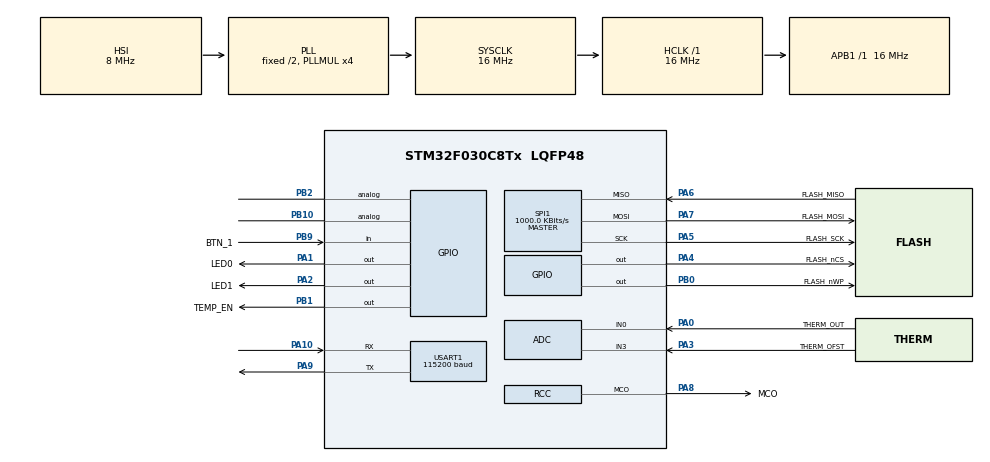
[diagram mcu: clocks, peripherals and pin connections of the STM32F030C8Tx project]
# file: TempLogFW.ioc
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ADC.ClockPrescaler=ADC_CLOCK_ASYNC_DIV1
ADC.ContinuousConvMode=ENABLE
ADC.DiscontinuousConvMode=DISABLE
ADC.EOCSelection=ADC_EOC_SINGLE_CONV
ADC.SamplingTime=ADC_SAMPLETIME_71CYCLES_5
Mcu.Family=STM32F0
Mcu.Name=STM32F030C8Tx
Mcu.Package=LQFP48
NVIC.USART1_IRQn=true\:0\:0\:false\:false\:true\:true\:true\:true
PA0.GPIO_Label=THERM_OUT
PA0.Mode=IN0
PA0.Signal=ADC_IN0
PA1.GPIO_Label=LED0
PA1.Signal=GPIO_Output
PA10.Mode=Asynchronous
PA10.Signal=USART1_RX
PA13.Mode=Serial_Wire
PA13.Signal=SYS_SWDIO
PA14.Mode=Serial_Wire
PA14.Signal=SYS_SWCLK
PA2.GPIO_Label=LED1
PA2.Signal=GPIO_Output
PA3.GPIO_Label=THERM_OFST
PA3.Mode=IN3
PA3.Signal=ADC_IN3
PA4.GPIO_Label=FLASH_nCS
PA4.Signal=GPIO_Output
PA5.GPIO_Label=FLASH_SCK
PA5.Mode=Full_Duplex_Master
PA5.Signal=SPI1_SCK
PA6.GPIO_Label=FLASH_MISO
PA6.Mode=Full_Duplex_Master
PA6.Signal=SPI1_MISO
PA7.GPIO_Label=FLASH_MOSI
PA7.Mode=Full_Duplex_Master
PA7.Signal=SPI1_MOSI
PA8.GPIO_Label=MCO
PA8.Mode=Clock-out
PA8.Signal=RCC_MCO
PA9.Mode=Asynchronous
PA9.Signal=USART1_TX
PB0.GPIO_Label=FLASH_nWP
PB0.Signal=GPIO_Output
PB1.GPIO_Label=TEMP_EN
PB1.Signal=GPIO_Output
PB10.Signal=GPIO_Analog
PB2.Signal=GPIO_Analog
PB9.GPIO_Label=BTN_1
PB9.Signal=GPIO_Input
PC14-OSC32_IN.Mode=LSE-External-Oscillator
PC14-OSC32_IN.Signal=RCC_OSC32_IN
PC15-OSC32_OUT.Mode=LSE-External-Oscillator
PC15-OSC32_OUT.Signal=RCC_OSC32_OUT
PF0-OSC_IN.Mode=HSE-External-Oscillator
PF0-OSC_IN.Signal=RCC_OSC_IN
PF1-OSC_OUT.Mode=HSE-External-Oscillator
PF1-OSC_OUT.Signal=RCC_OSC_OUT
ProjectManager.HeapSize=0x200
ProjectManager.StackSize=0x400
ProjectManager.TargetToolchain=STM32CubeIDE
RCC.AHBFreq_Value=16000000
RCC.APB1Freq_Value=16000000
RCC.APB1TimFreq_Value=16000000
RCC.HCLKFreq_Value=16000000
RCC.PLLMUL=RCC_PLL_MUL4
RCC.SYSCLKFreq_VALUE=16000000
RCC.SYSCLKSource=RCC_SYSCLKSOURCE_PLLCLK
SPI1.BaudRatePrescaler=SPI_BAUDRATEPRESCALER_16
SPI1.CLKPhase=SPI_PHASE_1EDGE
SPI1.CLKPolarity=SPI_POLARITY_LOW
SPI1.CalculateBaudRate=1000.0 KBits/s
SPI1.DataSize=SPI_DATASIZE_8BIT
SPI1.Direction=SPI_DIRECTION_2LINES
SPI1.Mode=SPI_MODE_MASTER
SPI1.VirtualType=VM_MASTER
USART1.BaudRate=115200
USART1.VirtualMode-Asynchronous=VM_ASYNC
board=custom

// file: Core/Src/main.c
/* USER CODE BEGIN Header */
/**
  ******************************************************************************
  * @file           : main.c
  * @brief          : Main program body
  ******************************************************************************
  * @attention
  *
  * Copyright (c) 2025 STMicroelectronics.
  * All rights reserved.
  *
  * This software is licensed under terms that can be found in the LICENSE file
  * in the root directory of this software component.
  * If no LICENSE file comes with this software, it is provided AS-IS.
  *
  ******************************************************************************
  */
/* USER CODE END Header */
#include "main.h"

/* USER CODE BEGIN Includes */
#include "gd25q16etigr.h"
#include "thermistor.h"
#include "telemetry.h"
/* USER CODE END Includes */

ADC_HandleTypeDef hadc;

SPI_HandleTypeDef hspi1;

UART_HandleTypeDef huart1;

/* USER CODE BEGIN PV */
volatile uint8_t uart1_rxByte = 0;
volatile uint8_t uart1_txByte = 0;
/* USER CODE END PV */

void SystemClock_Config(void);
static void MX_GPIO_Init(void);
static void MX_SPI1_Init(void);
static void MX_USART1_UART_Init(void);
static void MX_ADC_Init(void);
/* USER CODE BEGIN PFP */
void app_telemetry_command_handler(telemetry_msg rx_msg);
/* USER CODE END PFP */

int main(void)
{

  /* MCU Configuration--------------------------------------------------------*/

  /* Reset of all peripherals, Initializes the Flash interface and the Systick. */
  HAL_Init();

  /* Configure the system clock */
  SystemClock_Config();

  /* Initialize all configured peripherals */
  MX_GPIO_Init();
  MX_SPI1_Init();
  MX_USART1_UART_Init();
  MX_ADC_Init();
  /* USER CODE BEGIN 2 */
  gd25q16etigr_init();
  uint8_t wBuff[256] = {0};
  uint8_t rBuff[256] = {0};
  uint32_t addr = 0x00;
  wBuff[0] = 'U';
  wBuff[1] = 'r';
  wBuff[2] = 'i';
  wBuff[3] = 'e';
  wBuff[4] = 'l';

  HAL_UART_Receive_IT (&huart1, &uart1_rxByte, 1);
  telemetry_set_command_handler(app_telemetry_command_handler);
  /* USER CODE END 2 */

  /* Infinite loop */
  /* USER CODE BEGIN WHILE */
  while (1)
  {
	HAL_GPIO_TogglePin(LED0_GPIO_Port, LED0_Pin);
	HAL_GPIO_TogglePin(LED1_GPIO_Port, LED1_Pin);
	HAL_Delay(600);

	/*gd25q16etigr_eraseSector(addr);
	gd25q16etigr_pageProgram(addr, wBuff, 5);
	gd25q16etigr_readDataBytes(addr, rBuff, sizeof(rBuff));
	HAL_Delay(100);
	thermistor_readTemp();*/
    /* USER CODE END WHILE */

  }
}

void SystemClock_Config(void)
{
  RCC_OscInitTypeDef RCC_OscInitStruct = {0};
  RCC_ClkInitTypeDef RCC_ClkInitStruct = {0};
  RCC_PeriphCLKInitTypeDef PeriphClkInit = {0};

  /** Initializes the RCC Oscillators according to the specified parameters
  * in the RCC_OscInitTypeDef structure.
  */
  RCC_OscInitStruct.OscillatorType = RCC_OSCILLATORTYPE_HSI|RCC_OSCILLATORTYPE_HSI14;
  RCC_OscInitStruct.HSIState = RCC_HSI_ON;
  RCC_OscInitStruct.HSI14State = RCC_HSI14_ON;
  RCC_OscInitStruct.HSICalibrationValue = RCC_HSICALIBRATION_DEFAULT;
  RCC_OscInitStruct.HSI14CalibrationValue = 16;
  RCC_OscInitStruct.PLL.PLLState = RCC_PLL_ON;
  RCC_OscInitStruct.PLL.PLLSource = RCC_PLLSOURCE_HSI;
  RCC_OscInitStruct.PLL.PLLMUL = RCC_PLL_MUL4;
  RCC_OscInitStruct.PLL.PREDIV = RCC_PREDIV_DIV1;
  if (HAL_RCC_OscConfig(&RCC_OscInitStruct) != HAL_OK)
  {
    Error_Handler();
  }

  /** Initializes the CPU, AHB and APB buses clocks
  */
  RCC_ClkInitStruct.ClockType = RCC_CLOCKTYPE_HCLK|RCC_CLOCKTYPE_SYSCLK
                              |RCC_CLOCKTYPE_PCLK1;
  RCC_ClkInitStruct.SYSCLKSource = RCC_SYSCLKSOURCE_PLLCLK;
  RCC_ClkInitStruct.AHBCLKDivider = RCC_SYSCLK_DIV1;
  RCC_ClkInitStruct.APB1CLKDivider = RCC_HCLK_DIV1;

  if (HAL_RCC_ClockConfig(&RCC_ClkInitStruct, FLASH_LATENCY_0) != HAL_OK)
  {
    Error_Handler();
  }
  PeriphClkInit.PeriphClockSelection = RCC_PERIPHCLK_USART1;
  PeriphClkInit.Usart1ClockSelection = RCC_USART1CLKSOURCE_PCLK1;
  if (HAL_RCCEx_PeriphCLKConfig(&PeriphClkInit) != HAL_OK)
  {
    Error_Handler();
  }
  HAL_RCC_MCOConfig(RCC_MCO, RCC_MCO1SOURCE_SYSCLK, RCC_MCODIV_1);
}

static void MX_ADC_Init(void)
{

  ADC_ChannelConfTypeDef sConfig = {0};

  /** Configure the global features of the ADC (Clock, Resolution, Data Alignment and number of conversion)
  */
  hadc.Instance = ADC1;
  hadc.Init.ClockPrescaler = ADC_CLOCK_ASYNC_DIV1;
  hadc.Init.Resolution = ADC_RESOLUTION_12B;
  hadc.Init.DataAlign = ADC_DATAALIGN_RIGHT;
  hadc.Init.ScanConvMode = ADC_SCAN_DIRECTION_FORWARD;
  hadc.Init.EOCSelection = ADC_EOC_SINGLE_CONV;
  hadc.Init.LowPowerAutoWait = DISABLE;
  hadc.Init.LowPowerAutoPowerOff = DISABLE;
  hadc.Init.ContinuousConvMode = ENABLE;
  hadc.Init.DiscontinuousConvMode = DISABLE;
  hadc.Init.ExternalTrigConv = ADC_SOFTWARE_START;
  hadc.Init.ExternalTrigConvEdge = ADC_EXTERNALTRIGCONVEDGE_NONE;
  hadc.Init.DMAContinuousRequests = DISABLE;
  hadc.Init.Overrun = ADC_OVR_DATA_PRESERVED;
  if (HAL_ADC_Init(&hadc) != HAL_OK)
  {
    Error_Handler();
  }

  /** Configure for the selected ADC regular channel to be converted.
  */
  sConfig.Channel = ADC_CHANNEL_0;
  sConfig.Rank = ADC_RANK_CHANNEL_NUMBER;
  sConfig.SamplingTime = ADC_SAMPLETIME_71CYCLES_5;
  if (HAL_ADC_ConfigChannel(&hadc, &sConfig) != HAL_OK)
  {
    Error_Handler();
  }

  /** Configure for the selected ADC regular channel to be converted.
  */
  sConfig.Channel = ADC_CHANNEL_3;
  if (HAL_ADC_ConfigChannel(&hadc, &sConfig) != HAL_OK)
  {
    Error_Handler();
  }

}

static void MX_SPI1_Init(void)
{

  /* SPI1 parameter configuration*/
  hspi1.Instance = SPI1;
  hspi1.Init.Mode = SPI_MODE_MASTER;
  hspi1.Init.Direction = SPI_DIRECTION_2LINES;
  hspi1.Init.DataSize = SPI_DATASIZE_8BIT;
  hspi1.Init.CLKPolarity = SPI_POLARITY_LOW;
  hspi1.Init.CLKPhase = SPI_PHASE_1EDGE;
  hspi1.Init.NSS = SPI_NSS_SOFT;
  hspi1.Init.BaudRatePrescaler = SPI_BAUDRATEPRESCALER_16;
  hspi1.Init.FirstBit = SPI_FIRSTBIT_MSB;
  hspi1.Init.TIMode = SPI_TIMODE_DISABLE;
  hspi1.Init.CRCCalculation = SPI_CRCCALCULATION_DISABLE;
  hspi1.Init.CRCPolynomial = 7;
  hspi1.Init.CRCLength = SPI_CRC_LENGTH_DATASIZE;
  hspi1.Init.NSSPMode = SPI_NSS_PULSE_ENABLE;
  if (HAL_SPI_Init(&hspi1) != HAL_OK)
  {
    Error_Handler();
  }

}

static void MX_USART1_UART_Init(void)
{

  huart1.Instance = USART1;
  huart1.Init.BaudRate = 115200;
  huart1.Init.WordLength = UART_WORDLENGTH_8B;
  huart1.Init.StopBits = UART_STOPBITS_1;
  huart1.Init.Parity = UART_PARITY_NONE;
  huart1.Init.Mode = UART_MODE_TX_RX;
  huart1.Init.HwFlowCtl = UART_HWCONTROL_NONE;
  huart1.Init.OverSampling = UART_OVERSAMPLING_16;
  huart1.Init.OneBitSampling = UART_ONE_BIT_SAMPLE_DISABLE;
  huart1.AdvancedInit.AdvFeatureInit = UART_ADVFEATURE_NO_INIT;
  if (HAL_UART_Init(&huart1) != HAL_OK)
  {
    Error_Handler();
  }

}

static void MX_GPIO_Init(void)
{
  GPIO_InitTypeDef GPIO_InitStruct = {0};

  /* GPIO Ports Clock Enable */
  __HAL_RCC_GPIOC_CLK_ENABLE();
  __HAL_RCC_GPIOF_CLK_ENABLE();
  __HAL_RCC_GPIOA_CLK_ENABLE();
  __HAL_RCC_GPIOB_CLK_ENABLE();

  /*Configure GPIO pin Output Level */
  HAL_GPIO_WritePin(GPIOA, LED0_Pin|LED1_Pin|FLASH_nCS_Pin, GPIO_PIN_RESET);

  /*Configure GPIO pin Output Level */
  HAL_GPIO_WritePin(GPIOB, FLASH_nWP_Pin|TEMP_EN_Pin, GPIO_PIN_RESET);

  /*Configure GPIO pins : LED0_Pin LED1_Pin FLASH_nCS_Pin */
  GPIO_InitStruct.Pin = LED0_Pin|LED1_Pin|FLASH_nCS_Pin;
  GPIO_InitStruct.Mode = GPIO_MODE_OUTPUT_PP;
  GPIO_InitStruct.Pull = GPIO_NOPULL;
  GPIO_InitStruct.Speed = GPIO_SPEED_FREQ_LOW;
  HAL_GPIO_Init(GPIOA, &GPIO_InitStruct);

  /*Configure GPIO pins : FLASH_nWP_Pin TEMP_EN_Pin */
  GPIO_InitStruct.Pin = FLASH_nWP_Pin|TEMP_EN_Pin;
  GPIO_InitStruct.Mode = GPIO_MODE_OUTPUT_PP;
  GPIO_InitStruct.Pull = GPIO_NOPULL;
  GPIO_InitStruct.Speed = GPIO_SPEED_FREQ_LOW;
  HAL_GPIO_Init(GPIOB, &GPIO_InitStruct);

  /*Configure GPIO pins : PB2 PB10 */
  GPIO_InitStruct.Pin = GPIO_PIN_2|GPIO_PIN_10;
  GPIO_InitStruct.Mode = GPIO_MODE_ANALOG;
  GPIO_InitStruct.Pull = GPIO_NOPULL;
  HAL_GPIO_Init(GPIOB, &GPIO_InitStruct);

  /*Configure GPIO pin : MCO_Pin */
  GPIO_InitStruct.Pin = MCO_Pin;
  GPIO_InitStruct.Mode = GPIO_MODE_AF_PP;
  GPIO_InitStruct.Pull = GPIO_NOPULL;
  GPIO_InitStruct.Speed = GPIO_SPEED_FREQ_LOW;
  GPIO_InitStruct.Alternate = GPIO_AF0_MCO;
  HAL_GPIO_Init(MCO_GPIO_Port, &GPIO_InitStruct);

  /*Configure GPIO pin : BTN_1_Pin */
  GPIO_InitStruct.Pin = BTN_1_Pin;
  GPIO_InitStruct.Mode = GPIO_MODE_INPUT;
  GPIO_InitStruct.Pull = GPIO_NOPULL;
  HAL_GPIO_Init(BTN_1_GPIO_Port, &GPIO_InitStruct);

}

/* USER CODE BEGIN 4 */
void HAL_UART_RxCpltCallback(UART_HandleTypeDef *huart)
{
    if (huart->Instance == USART1)
    {
    	uart1_txByte = uart1_rxByte;
    	//HAL_UART_Transmit(&huart1, &uart1_txByte, 1, 100);
    	telemetry_byte_feed(uart1_rxByte);
    	HAL_UART_Receive_IT(&huart1, &uart1_rxByte, 1);

    }
}

void app_telemetry_command_handler(telemetry_msg rx_msg)
{
	telemetry_msg_transmit(&rx_msg);
	return;
}

/* USER CODE END 4 */

void Error_Handler(void)
{
  __disable_irq();
  while (1)
  {
  }
}
